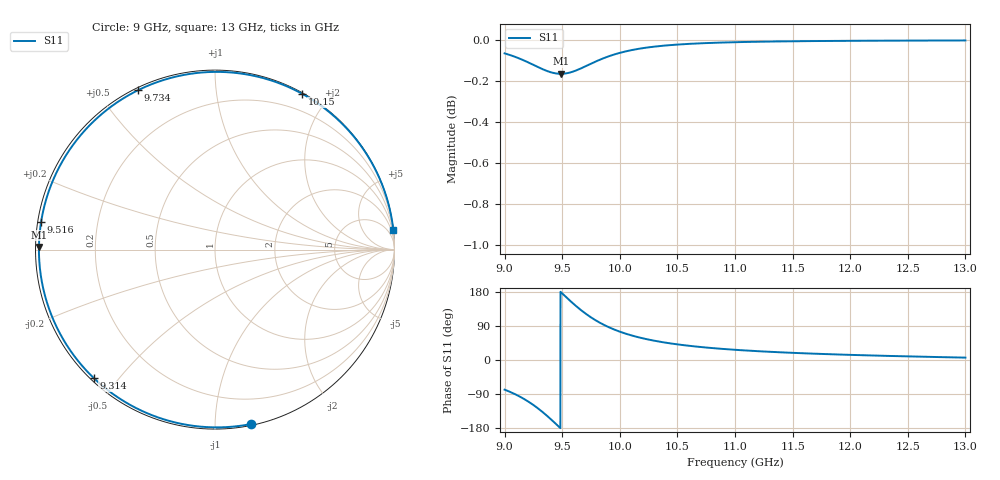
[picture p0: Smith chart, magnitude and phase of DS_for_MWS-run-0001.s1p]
! TOUCHSTONE file generated by CST DESIGN STUDIO
! Date and time: Tue Feb  4 17:19:06 2025
! Project name: C:\Work\MatlabApps\UnitCellOptimizationMatlab\CST\unitcell.cst
! Tree item: Tasks\Sweep1\SPara1\S-Parameters
! Header version: 2024
! Port assignment regex: !\s*Touchstone port\s*([0-9]+)\s*=\s*(CST MWS port|CST DES external port|CST DES block port)\s*(.+)\s* \(\"(.*)\"\)(\s*mode\s*([0-9]+))?.*
! Touchstone port assignment:
! Touchstone port 1 = CST DES external port 1 ("")
# GHz S MA R 50
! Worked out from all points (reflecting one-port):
!   4001 points, 9 GHz to 13 GHz, reference 50 ohm
!   lowest |S11| = -0.2 dB at 9.488 GHz (marker M1), VSWR 104.49, Z = 0.479 + j0.388 ohm
!   phase of S11 starts at -78 deg and turns -275 deg over the sweep
!   S11 on the Smith chart (normalised r, x): 9 GHz: 0.01, -1.23; 9.314 GHz: 0.01, -0.43; 9.516 GHz: 0.01, +0.08; 9.734 GHz: 0.01, +0.63; 10.15 GHz: 0.01, +1.70; 13 GHz: 0, +18
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9  0.9923 -78.3
9.08  0.9907 -88.7
9.179  0.9881 -104.7
9.249  0.986 -118.6
9.314  0.984 -133.5
9.36  0.9828 -145.1
9.409  0.9817 -158.4
9.449  0.9812 -169.7
9.488  0.981 179.1
9.5  0.9811 175.7
9.516  0.9811 171.1
9.569  0.9818 156.1
9.629  0.9831 140.1
9.681  0.9845 127.4
9.734  0.9861 115.8
9.788  0.9877 105.2
9.848  0.9894 94.9
9.923  0.9911 84.0
10  0.9926 74.8
10.151  0.9947 60.8
10.309  0.9961 50.3
10.5  0.9972 41.2
10.722  0.998 33.7
11  0.9986 26.9
11.5  0.9991 18.9
12  0.9993 13.5
12.5  0.9995 9.5
13  0.9995 6.3
